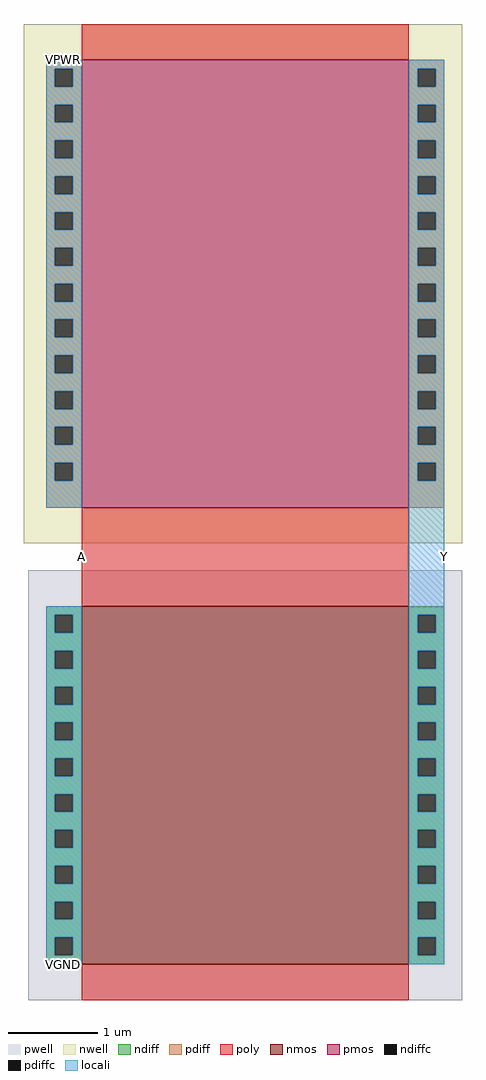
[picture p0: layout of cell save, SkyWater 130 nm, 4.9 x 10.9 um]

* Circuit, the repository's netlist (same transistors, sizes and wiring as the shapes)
* NGSPICE file created from save.ext - technology: sky130A

.subckt save A VPWR VGND Y
X0 Y A VGND VSUBS sky130_fd_pr__nfet_01v8 ad=1.6 pd=8.8 as=1.6 ps=8.8 w=4 l=3.65
X1 Y A VPWR w_n130_n80# sky130_fd_pr__pfet_01v8 ad=2 pd=10.8 as=2 ps=10.8 w=5 l=3.65
.ends

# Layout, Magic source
magic
tech sky130A
<< nwell >>
rect -65 -40 425 540
<< pwell >>
rect -60 -550 425 -70
<< nmos >>
rect 0 -510 365 -110
<< pmos >>
rect 0 0 365 500
<< ndiff >>
rect -40 -120 0 -110
rect -40 -140 -30 -120
rect -10 -140 0 -120
rect -40 -160 0 -140
rect -40 -180 -30 -160
rect -10 -180 0 -160
rect -40 -200 0 -180
rect -40 -220 -30 -200
rect -10 -220 0 -200
rect -40 -240 0 -220
rect -40 -260 -30 -240
rect -10 -260 0 -240
rect -40 -280 0 -260
rect -40 -300 -30 -280
rect -10 -300 0 -280
rect -40 -320 0 -300
rect -40 -340 -30 -320
rect -10 -340 0 -320
rect -40 -360 0 -340
rect -40 -380 -30 -360
rect -10 -380 0 -360
rect -40 -400 0 -380
rect -40 -420 -30 -400
rect -10 -420 0 -400
rect -40 -440 0 -420
rect -40 -460 -30 -440
rect -10 -460 0 -440
rect -40 -480 0 -460
rect -40 -500 -30 -480
rect -10 -500 0 -480
rect -40 -510 0 -500
rect 365 -120 405 -110
rect 365 -140 375 -120
rect 395 -140 405 -120
rect 365 -160 405 -140
rect 365 -180 375 -160
rect 395 -180 405 -160
rect 365 -200 405 -180
rect 365 -220 375 -200
rect 395 -220 405 -200
rect 365 -240 405 -220
rect 365 -260 375 -240
rect 395 -260 405 -240
rect 365 -280 405 -260
rect 365 -300 375 -280
rect 395 -300 405 -280
rect 365 -320 405 -300
rect 365 -340 375 -320
rect 395 -340 405 -320
rect 365 -360 405 -340
rect 365 -380 375 -360
rect 395 -380 405 -360
rect 365 -400 405 -380
rect 365 -420 375 -400
rect 395 -420 405 -400
rect 365 -440 405 -420
rect 365 -460 375 -440
rect 395 -460 405 -440
rect 365 -480 405 -460
rect 365 -500 375 -480
rect 395 -500 405 -480
rect 365 -510 405 -500
<< pdiff >>
rect -40 490 0 500
rect -40 470 -30 490
rect -10 470 0 490
rect -40 450 0 470
rect -40 430 -30 450
rect -10 430 0 450
rect -40 410 0 430
rect -40 390 -30 410
rect -10 390 0 410
rect -40 370 0 390
rect -40 350 -30 370
rect -10 350 0 370
rect -40 330 0 350
rect -40 310 -30 330
rect -10 310 0 330
rect -40 290 0 310
rect -40 270 -30 290
rect -10 270 0 290
rect -40 250 0 270
rect -40 230 -30 250
rect -10 230 0 250
rect -40 210 0 230
rect -40 190 -30 210
rect -10 190 0 210
rect -40 170 0 190
rect -40 150 -30 170
rect -10 150 0 170
rect -40 130 0 150
rect -40 110 -30 130
rect -10 110 0 130
rect -40 90 0 110
rect -40 70 -30 90
rect -10 70 0 90
rect -40 50 0 70
rect -40 30 -30 50
rect -10 30 0 50
rect -40 0 0 30
rect 365 490 405 500
rect 365 470 375 490
rect 395 470 405 490
rect 365 450 405 470
rect 365 430 375 450
rect 395 430 405 450
rect 365 410 405 430
rect 365 390 375 410
rect 395 390 405 410
rect 365 370 405 390
rect 365 350 375 370
rect 395 350 405 370
rect 365 330 405 350
rect 365 310 375 330
rect 395 310 405 330
rect 365 290 405 310
rect 365 270 375 290
rect 395 270 405 290
rect 365 250 405 270
rect 365 230 375 250
rect 395 230 405 250
rect 365 210 405 230
rect 365 190 375 210
rect 395 190 405 210
rect 365 170 405 190
rect 365 150 375 170
rect 395 150 405 170
rect 365 130 405 150
rect 365 110 375 130
rect 395 110 405 130
rect 365 90 405 110
rect 365 70 375 90
rect 395 70 405 90
rect 365 50 405 70
rect 365 30 375 50
rect 395 30 405 50
rect 365 0 405 30
<< ndiffc >>
rect -30 -140 -10 -120
rect -30 -180 -10 -160
rect -30 -220 -10 -200
rect -30 -260 -10 -240
rect -30 -300 -10 -280
rect -30 -340 -10 -320
rect -30 -380 -10 -360
rect -30 -420 -10 -400
rect -30 -460 -10 -440
rect -30 -500 -10 -480
rect 375 -140 395 -120
rect 375 -180 395 -160
rect 375 -220 395 -200
rect 375 -260 395 -240
rect 375 -300 395 -280
rect 375 -340 395 -320
rect 375 -380 395 -360
rect 375 -420 395 -400
rect 375 -460 395 -440
rect 375 -500 395 -480
<< pdiffc >>
rect -30 470 -10 490
rect -30 430 -10 450
rect -30 390 -10 410
rect -30 350 -10 370
rect -30 310 -10 330
rect -30 270 -10 290
rect -30 230 -10 250
rect -30 190 -10 210
rect -30 150 -10 170
rect -30 110 -10 130
rect -30 70 -10 90
rect -30 30 -10 50
rect 375 470 395 490
rect 375 430 395 450
rect 375 390 395 410
rect 375 350 395 370
rect 375 310 395 330
rect 375 270 395 290
rect 375 230 395 250
rect 375 190 395 210
rect 375 150 395 170
rect 375 110 395 130
rect 375 70 395 90
rect 375 30 395 50
<< poly >>
rect 0 500 365 540
rect 0 -110 365 0
rect 0 -550 365 -510
<< locali >>
rect -40 490 0 500
rect -40 470 -30 490
rect -10 470 0 490
rect -40 450 0 470
rect -40 430 -30 450
rect -10 430 0 450
rect -40 410 0 430
rect -40 390 -30 410
rect -10 390 0 410
rect -40 370 0 390
rect -40 350 -30 370
rect -10 350 0 370
rect -40 330 0 350
rect -40 310 -30 330
rect -10 310 0 330
rect -40 290 0 310
rect -40 270 -30 290
rect -10 270 0 290
rect -40 250 0 270
rect -40 230 -30 250
rect -10 230 0 250
rect -40 210 0 230
rect -40 190 -30 210
rect -10 190 0 210
rect -40 170 0 190
rect -40 150 -30 170
rect -10 150 0 170
rect -40 130 0 150
rect -40 110 -30 130
rect -10 110 0 130
rect -40 90 0 110
rect -40 70 -30 90
rect -10 70 0 90
rect -40 50 0 70
rect -40 30 -30 50
rect -10 30 0 50
rect -40 0 0 30
rect 365 490 405 500
rect 365 470 375 490
rect 395 470 405 490
rect 365 450 405 470
rect 365 430 375 450
rect 395 430 405 450
rect 365 410 405 430
rect 365 390 375 410
rect 395 390 405 410
rect 365 370 405 390
rect 365 350 375 370
rect 395 350 405 370
rect 365 330 405 350
rect 365 310 375 330
rect 395 310 405 330
rect 365 290 405 310
rect 365 270 375 290
rect 395 270 405 290
rect 365 250 405 270
rect 365 230 375 250
rect 395 230 405 250
rect 365 210 405 230
rect 365 190 375 210
rect 395 190 405 210
rect 365 170 405 190
rect 365 150 375 170
rect 395 150 405 170
rect 365 130 405 150
rect 365 110 375 130
rect 395 110 405 130
rect 365 90 405 110
rect 365 70 375 90
rect 395 70 405 90
rect 365 50 405 70
rect 365 30 375 50
rect 395 30 405 50
rect -40 -120 0 -110
rect -40 -140 -30 -120
rect -10 -140 0 -120
rect -40 -160 0 -140
rect -40 -180 -30 -160
rect -10 -180 0 -160
rect -40 -200 0 -180
rect -40 -220 -30 -200
rect -10 -220 0 -200
rect -40 -240 0 -220
rect -40 -260 -30 -240
rect -10 -260 0 -240
rect -40 -280 0 -260
rect -40 -300 -30 -280
rect -10 -300 0 -280
rect -40 -320 0 -300
rect -40 -340 -30 -320
rect -10 -340 0 -320
rect -40 -360 0 -340
rect -40 -380 -30 -360
rect -10 -380 0 -360
rect -40 -400 0 -380
rect -40 -420 -30 -400
rect -10 -420 0 -400
rect -40 -440 0 -420
rect -40 -460 -30 -440
rect -10 -460 0 -440
rect -40 -480 0 -460
rect -40 -500 -30 -480
rect -10 -500 0 -480
rect -40 -510 0 -500
rect 365 -120 405 30
rect 365 -140 375 -120
rect 395 -140 405 -120
rect 365 -160 405 -140
rect 365 -180 375 -160
rect 395 -180 405 -160
rect 365 -200 405 -180
rect 365 -220 375 -200
rect 395 -220 405 -200
rect 365 -240 405 -220
rect 365 -260 375 -240
rect 395 -260 405 -240
rect 365 -280 405 -260
rect 365 -300 375 -280
rect 395 -300 405 -280
rect 365 -320 405 -300
rect 365 -340 375 -320
rect 395 -340 405 -320
rect 365 -360 405 -340
rect 365 -380 375 -360
rect 395 -380 405 -360
rect 365 -400 405 -380
rect 365 -420 375 -400
rect 395 -420 405 -400
rect 365 -440 405 -420
rect 365 -460 375 -440
rect 395 -460 405 -440
rect 365 -480 405 -460
rect 365 -500 375 -480
rect 395 -500 405 -480
rect 365 -510 405 -500
<< labels >>
rlabel poly 0 -55 0 -55 7 A
port 1 w
rlabel locali -20 500 -20 500 1 VPWR
port 2 n
rlabel locali -20 -510 -20 -510 5 VGND
port 3 s
rlabel locali 405 -55 405 -55 3 Y
port 4 e
<< end >>
